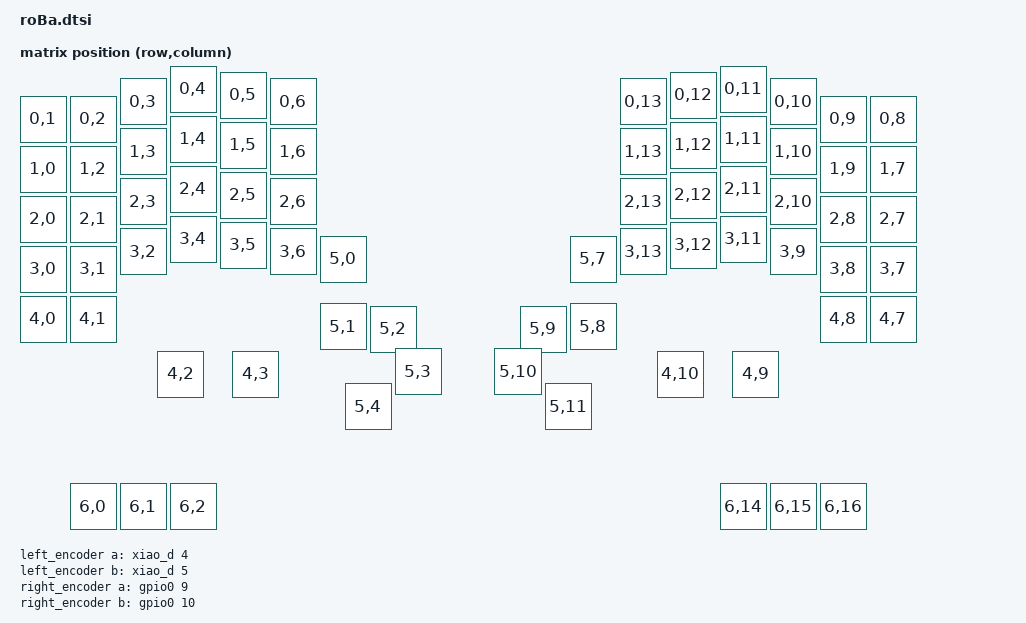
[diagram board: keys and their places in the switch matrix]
#include <dt-bindings/zmk/matrix_transform.h>
#include <physical_layouts.dtsi>

/ {
    chosen {
        zmk,physical-layout = &roba_physical_layout;
    };
    
    roba_physical_layout: roba_physical_layout {
        compatible = "zmk,physical-layout";
        display-name = "Default";
        transform = <&default_transform>;
        kscan = <&kscan0>;

        // https://zmk-physical-layout-converter.streamlit.app/
        keys  //                 w   h    x    y     rot    rx    ry
        = <&key_physical_attrs 100 100    0   60       0     0     0>
        , <&key_physical_attrs 100 100  100   60       0     0     0>
        , <&key_physical_attrs 100 100  200   25       0     0     0>
        , <&key_physical_attrs 100 100  300    0       0     0     0>
        , <&key_physical_attrs 100 100  400   12       0     0     0>
        , <&key_physical_attrs 100 100  500   25       0     0     0>
        , <&key_physical_attrs 100 100 1200   25       0     0     0>
        , <&key_physical_attrs 100 100 1300   12       0     0     0>
        , <&key_physical_attrs 100 100 1400    0       0     0     0>
        , <&key_physical_attrs 100 100 1500   25       0     0     0>
        , <&key_physical_attrs 100 100 1600   60       0     0     0>
        , <&key_physical_attrs 100 100 1700   60       0     0     0>

        , <&key_physical_attrs 100 100    0  160       0     0     0>
        , <&key_physical_attrs 100 100  100  160       0     0     0>
        , <&key_physical_attrs 100 100  200  125       0     0     0>
        , <&key_physical_attrs 100 100  300  100       0     0     0>
        , <&key_physical_attrs 100 100  400  112       0     0     0>
        , <&key_physical_attrs 100 100  500  125       0     0     0>
        , <&key_physical_attrs 100 100 1200  125       0     0     0>
        , <&key_physical_attrs 100 100 1300  112       0     0     0>
        , <&key_physical_attrs 100 100 1400  100       0     0     0>
        , <&key_physical_attrs 100 100 1500  125       0     0     0>
        , <&key_physical_attrs 100 100 1600  160       0     0     0>
        , <&key_physical_attrs 100 100 1700  160       0     0     0>

        , <&key_physical_attrs 100 100    0  260       0     0     0>
        , <&key_physical_attrs 100 100  100  260       0     0     0>
        , <&key_physical_attrs 100 100  200  225       0     0     0>
        , <&key_physical_attrs 100 100  300  200       0     0     0>
        , <&key_physical_attrs 100 100  400  212       0     0     0>
        , <&key_physical_attrs 100 100  500  225       0     0     0>
        , <&key_physical_attrs 100 100 1200  225       0     0     0>
        , <&key_physical_attrs 100 100 1300  212       0     0     0>
        , <&key_physical_attrs 100 100 1400  200       0     0     0>
        , <&key_physical_attrs 100 100 1500  225       0     0     0>
        , <&key_physical_attrs 100 100 1600  260       0     0     0>
        , <&key_physical_attrs 100 100 1700  260       0     0     0>

        , <&key_physical_attrs 100 100    0  360       0     0     0>
        , <&key_physical_attrs 100 100  100  360       0     0     0>
        , <&key_physical_attrs 100 100  200  325       0     0     0>
        , <&key_physical_attrs 100 100  300  300       0     0     0>
        , <&key_physical_attrs 100 100  400  312       0     0     0>
        , <&key_physical_attrs 100 100  500  325       0     0     0>
        , <&key_physical_attrs 100 100  600  340       0     0     0>
        , <&key_physical_attrs 100 100 1100  340       0     0     0>
        , <&key_physical_attrs 100 100 1200  325       0     0     0>
        , <&key_physical_attrs 100 100 1300  312       0     0     0>
        , <&key_physical_attrs 100 100 1400  300       0     0     0>
        , <&key_physical_attrs 100 100 1500  325       0     0     0>
        , <&key_physical_attrs 100 100 1600  360       0     0     0>
        , <&key_physical_attrs 100 100 1700  360       0     0     0>

        , <&key_physical_attrs 100 100    0  460       0     0     0>
        , <&key_physical_attrs 100 100  100  460       0     0     0>
        , <&key_physical_attrs 100 100  600  475       0     0     0>
        , <&key_physical_attrs 100 100  700  480       0     0     0>
        , <&key_physical_attrs 100 100 1000  480       0     0     0>
        , <&key_physical_attrs 100 100 1100  475       0     0     0>
        , <&key_physical_attrs 100 100 1600  460       0     0     0>
        , <&key_physical_attrs 100 100 1700  460       0     0     0>
        
        , <&key_physical_attrs 100 100  275  570       0     0     0>
        , <&key_physical_attrs 100 100  425  570       0     0     0>
        , <&key_physical_attrs 100 100  750  565       0     0     0>
        , <&key_physical_attrs 100 100  950  565       0     0     0>
        , <&key_physical_attrs 100 100 1275  570       0     0     0>
        , <&key_physical_attrs 100 100 1425  570       0     0     0>

        , <&key_physical_attrs 100 100  650  635       0     0     0>
        , <&key_physical_attrs 100 100 1050  635       0     0     0>

        , <&key_physical_attrs 100 100  100  835       0     0     0>
        , <&key_physical_attrs 100 100  200  835       0     0     0>
        , <&key_physical_attrs 100 100  300  835       0     0     0>
        , <&key_physical_attrs 100 100 1400  835       0     0     0>
        , <&key_physical_attrs 100 100 1500  835       0     0     0>
        , <&key_physical_attrs 100 100 1600  835       0     0     0>

            ;
    };

    default_transform: keymap_transform_0 {
        compatible = "zmk,matrix-transform";
        columns = <21>;
        rows = <7>;               

        map = <
        RC(0,1)  RC(0,2)  RC(0,3)  RC(0,4)  RC(0,5)  RC(0,6)                    RC(0,13)  RC(0,12) RC(0,11) RC(0,10) RC(0,9)  RC(0,8)  
        RC(1,0)  RC(1,2)  RC(1,3)  RC(1,4)  RC(1,5)  RC(1,6)                    RC(1,13)  RC(1,12) RC(1,11) RC(1,10) RC(1,9)  RC(1,7)  
        RC(2,0)  RC(2,1)  RC(2,3)  RC(2,4)  RC(2,5)  RC(2,6)                    RC(2,13)  RC(2,12) RC(2,11) RC(2,10) RC(2,8)  RC(2,7)  
        RC(3,0)  RC(3,1)  RC(3,2)  RC(3,4)  RC(3,5)  RC(3,6)  RC(5,0)  RC(5,7)  RC(3,13)  RC(3,12) RC(3,11) RC(3,9)  RC(3,8)  RC(3,7)  
        RC(4,0)  RC(4,1)                             RC(5,1)  RC(5,2)  RC(5,9)  RC(5,8)                              RC(4,8)  RC(4,7)  
                          RC(4,2)           RC(4,3)           RC(5,3)  RC(5,10)           RC(4,10)          RC(4,9)            
                                                              RC(5,4)  RC(5,11)                                
                 RC(6,0)  RC(6,1)  RC(6,2)                                                         RC(6,14) RC(6,15) RC(6,16)  
             >;
    };
    
    kscan0: kscan {
        compatible = "zmk,kscan-gpio-charlieplex";
        wakeup-source;

        interrupt-gpios = <&xiao_d 10 (GPIO_ACTIVE_HIGH | GPIO_PULL_DOWN)>;
        gpios =   <&xiao_d 1 GPIO_ACTIVE_HIGH> 
                , <&xiao_d 2 GPIO_ACTIVE_HIGH> 
                , <&xiao_d 3 GPIO_ACTIVE_HIGH> 
                , <&xiao_d 6 GPIO_ACTIVE_HIGH>
                , <&xiao_d 7 GPIO_ACTIVE_HIGH> 
                , <&xiao_d 8 GPIO_ACTIVE_HIGH> 
                , <&xiao_d 9 GPIO_ACTIVE_HIGH> 	
                ;
    };

    left_encoder: encoder_left {
        compatible = "alps,ec11";
        a-gpios = <&xiao_d 4 (GPIO_ACTIVE_HIGH | GPIO_PULL_UP)>;
        b-gpios = <&xiao_d 5 (GPIO_ACTIVE_HIGH | GPIO_PULL_UP)>;
        steps = <15>;
        status = "disabled";
    };

    right_encoder: encoder_right {
        compatible = "alps,ec11";
        a-gpios = <&gpio0 9 (GPIO_ACTIVE_HIGH | GPIO_PULL_UP)>;
        b-gpios = <&gpio0 10 (GPIO_ACTIVE_HIGH | GPIO_PULL_UP)>;
        steps = <15>;
        status = "disabled";
    };

    sensors: sensors {
        compatible = "zmk,keymap-sensors";
        sensors = <&left_encoder &right_encoder>;
        triggers-per-rotation = <10>;
    };
};
